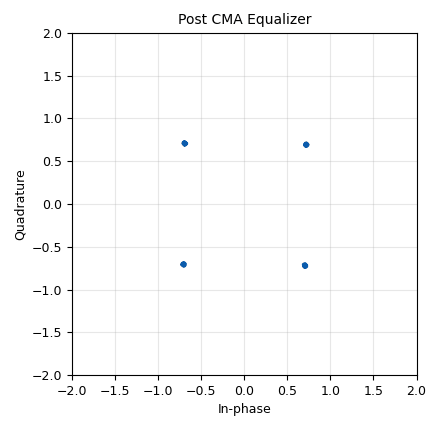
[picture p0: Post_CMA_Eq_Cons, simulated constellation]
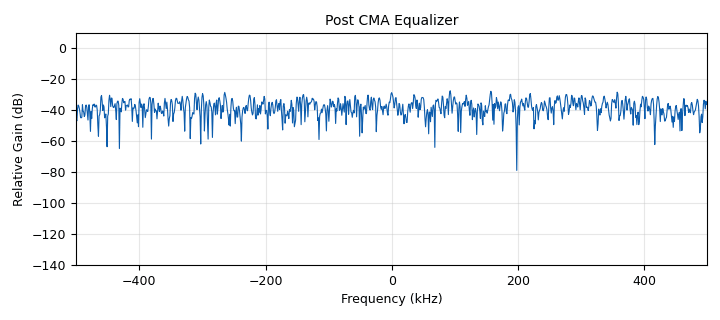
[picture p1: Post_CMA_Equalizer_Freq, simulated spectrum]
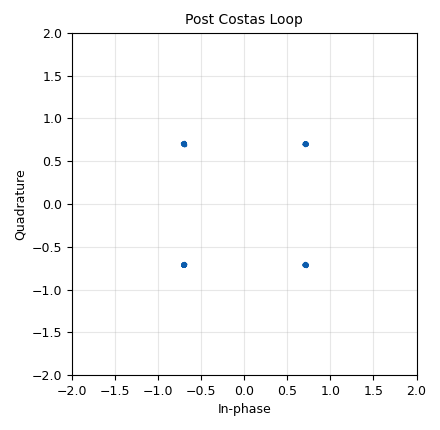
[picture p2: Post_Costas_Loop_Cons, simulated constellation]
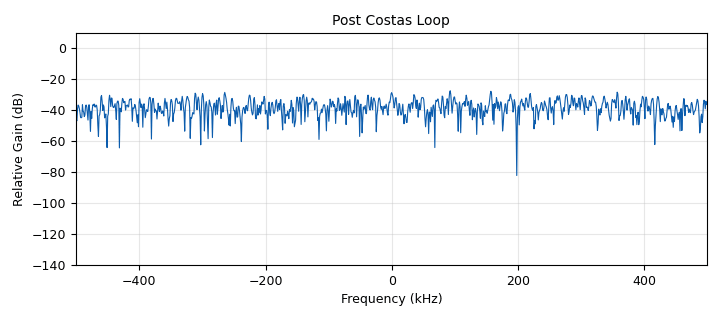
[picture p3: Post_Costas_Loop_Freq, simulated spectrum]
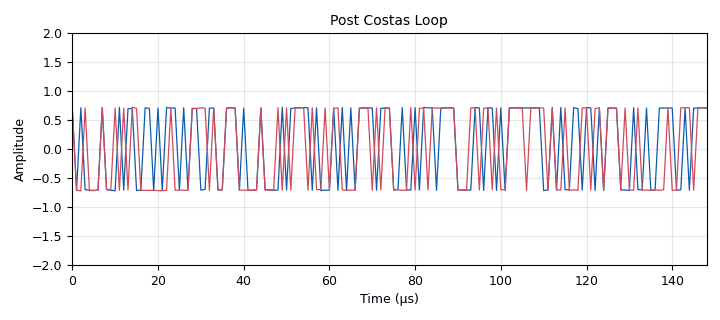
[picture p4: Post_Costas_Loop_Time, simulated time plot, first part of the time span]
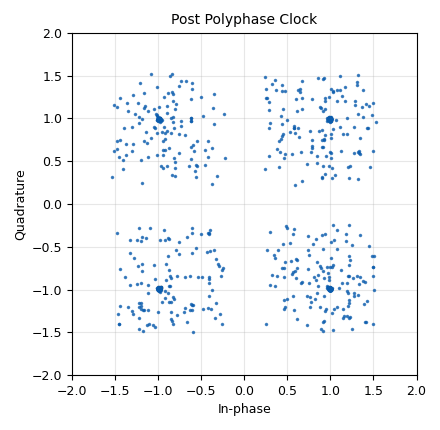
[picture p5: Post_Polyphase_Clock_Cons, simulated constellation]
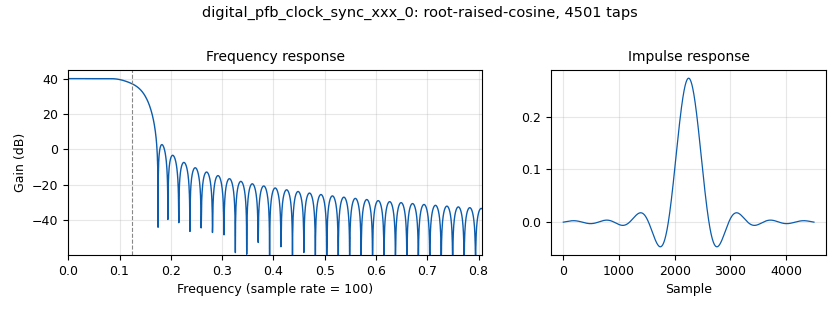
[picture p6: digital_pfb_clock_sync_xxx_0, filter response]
<?xml version='1.0' encoding='utf-8'?>
<?grc format='1' created='3.7.11'?>
<flow_graph>
<block>
<key>options</key>
<param><key>id</key><value>QPSK_ModDemod</value></param>
<param><key>author</key><value>Enrique Quik-e Cametti</value></param>
<param><key>generate_options</key><value>qt_gui</value></param>
<param><key>title</key><value>QPSK Modulation and Demodulation Simulation</value></param>
</block>
<block>
<key>variable</key>
<param><key>id</key><value>ConsRow</value></param>
<param><key>value</key><value>RangeRow+1</value></param>
</block>
<block>
<key>variable_qtgui_range</key>
<param><key>id</key><value>FreqOff</value></param>
<param><key>value</key><value>0</value></param>
<param><key>gui_hint</key><value>RangeRow,3</value></param>
<param><key>label</key><value>Frequency Offset</value></param>
<param><key>orient</key><value>Qt.Horizontal</value></param>
<param><key>start</key><value>0</value></param>
<param><key>step</key><value>0.01</value></param>
<param><key>stop</key><value>1</value></param>
</block>
<block>
<key>variable</key>
<param><key>id</key><value>FreqRow</value></param>
<param><key>value</key><value>ConsRow+1</value></param>
</block>
<block>
<key>variable_qtgui_range</key>
<param><key>id</key><value>Noise</value></param>
<param><key>value</key><value>0</value></param>
<param><key>gui_hint</key><value>RangeRow,1,1,2</value></param>
<param><key>label</key><value>Channel Noise</value></param>
<param><key>orient</key><value>Qt.Horizontal</value></param>
<param><key>start</key><value>0</value></param>
<param><key>step</key><value>0.01</value></param>
<param><key>stop</key><value>1</value></param>
</block>
<block>
<key>variable_constellation</key>
<param><key>id</key><value>QPSK_CO</value></param>
<param><key>type</key><value>qpsk</value></param>
<param><key>precision</key><value>8</value></param>
</block>
<block>
<key>variable</key>
<param><key>id</key><value>RangeRow</value></param>
<param><key>value</key><value>0</value></param>
</block>
<block>
<key>variable</key>
<param><key>id</key><value>SPS</value></param>
<param><key>value</key><value>2</value></param>
</block>
<block>
<key>variable</key>
<param><key>id</key><value>SampSymb</value></param>
<param><key>comment</key><value>Mio</value></param>
<param><key>value</key><value>4</value></param>
</block>
<block>
<key>variable</key>
<param><key>id</key><value>TimeRow</value></param>
<param><key>value</key><value>FreqRow+1</value></param>
</block>
<block>
<key>variable_qtgui_range</key>
<param><key>id</key><value>Values</value></param>
<param><key>value</key><value>1</value></param>
<param><key>gui_hint</key><value>RangeRow,0</value></param>
<param><key>label</key><value>Vector Values</value></param>
<param><key>orient</key><value>Qt.Horizontal</value></param>
<param><key>start</key><value>0</value></param>
<param><key>step</key><value>1</value></param>
<param><key>stop</key><value>15</value></param>
<param><key>rangeType</key><value>int</value></param>
</block>
<block>
<key>variable</key>
<param><key>id</key><value>nfilts</value></param>
<param><key>value</key><value>100</value></param>
</block>
<block>
<key>variable</key>
<param><key>id</key><value>rrc_taps_0</value></param>
<param><key>value</key><value>firdes.root_raised_cosine(nfilts, nfilts, 1.0/float(SampSymb), 0.35, 45*nfilts)</value></param>
</block>
<block>
<key>variable</key>
<param><key>id</key><value>samp_rate</value></param>
<param><key>value</key><value>1e6</value></param>
</block>
<block>
<key>qtgui_const_sink_x</key>
<param><key>id</key><value>Post_CMA_Eq_Cons</value></param>
<param><key>gui_hint</key><value>ConsRow,2</value></param>
<param><key>legend</key><value>False</value></param>
<param><key>alpha1</key><value>0.6</value></param>
<param><key>label1</key><value>Equalized</value></param>
<param><key>name</key><value>Post CMA Equalizer</value></param>
<param><key>size</key><value>1024</value></param>
<param><key>type</key><value>complex</value></param>
</block>
<block>
<key>qtgui_freq_sink_x</key>
<param><key>id</key><value>Post_CMA_Equalizer_Freq</value></param>
<param><key>bw</key><value>samp_rate</value></param>
<param><key>fc</key><value>0</value></param>
<param><key>fftsize</key><value>1024</value></param>
<param><key>gui_hint</key><value>FreqRow,2</value></param>
<param><key>legend</key><value>False</value></param>
<param><key>name</key><value>"Post CMA Equalizer"</value></param>
<param><key>showports</key><value>True</value></param>
<param><key>type</key><value>complex</value></param>
<param><key>wintype</key><value>firdes.WIN_BLACKMAN_hARRIS</value></param>
</block>
<block>
<key>qtgui_const_sink_x</key>
<param><key>id</key><value>Post_Costas_Loop_Cons</value></param>
<param><key>gui_hint</key><value>ConsRow,3</value></param>
<param><key>legend</key><value>False</value></param>
<param><key>alpha1</key><value>0.6</value></param>
<param><key>label1</key><value>Locked</value></param>
<param><key>name</key><value>Post Costas Loop</value></param>
<param><key>size</key><value>1024</value></param>
<param><key>type</key><value>complex</value></param>
</block>
<block>
<key>qtgui_freq_sink_x</key>
<param><key>id</key><value>Post_Costas_Loop_Freq</value></param>
<param><key>bw</key><value>samp_rate</value></param>
<param><key>fc</key><value>0</value></param>
<param><key>fftsize</key><value>1024</value></param>
<param><key>gui_hint</key><value>FreqRow,3</value></param>
<param><key>legend</key><value>False</value></param>
<param><key>name</key><value>"Post Costas Loop"</value></param>
<param><key>showports</key><value>True</value></param>
<param><key>type</key><value>complex</value></param>
<param><key>wintype</key><value>firdes.WIN_BLACKMAN_hARRIS</value></param>
</block>
<block>
<key>qtgui_time_sink_x</key>
<param><key>id</key><value>Post_Costas_Loop_Time</value></param>
<param><key>gui_hint</key><value>TimeRow,2,1,2</value></param>
<param><key>legend</key><value>False</value></param>
<param><key>color1</key><value>"blue"</value></param>
<param><key>label1</key><value></value></param>
<param><key>color2</key><value>"red"</value></param>
<param><key>label2</key><value></value></param>
<param><key>name</key><value>"Post Costas Loop"</value></param>
<param><key>size</key><value>1024</value></param>
<param><key>srate</key><value>samp_rate</value></param>
<param><key>type</key><value>complex</value></param>
<param><key>ymax</key><value>2</value></param>
<param><key>ymin</key><value>-2</value></param>
</block>
<block>
<key>qtgui_const_sink_x</key>
<param><key>id</key><value>Post_Polyphase_Clock_Cons</value></param>
<param><key>gui_hint</key><value>ConsRow,1</value></param>
<param><key>grid</key><value>True</value></param>
<param><key>legend</key><value>False</value></param>
<param><key>alpha1</key><value>0.5</value></param>
<param><key>label1</key><value>Timing Recov.</value></param>
<param><key>style1</key><value>1</value></param>
<param><key>name</key><value>Post Polyphase Clock</value></param>
<param><key>size</key><value>1024</value></param>
<param><key>type</key><value>complex</value></param>
</block>
<block>
<key>blocks_file_source</key>
<param><key>id</key><value>Text_Source</value></param>
<param><key>_enabled</key><value>0</value></param>
<param><key>file</key><value>/home/teddy/Documents/DVB_last_stand/Source_Files/Test_text.txt</value></param>
<param><key>type</key><value>byte</value></param>
<param><key>repeat</key><value>True</value></param>
</block>
<block>
<key>blocks_udp_source</key>
<param><key>id</key><value>UDP_Source_lo</value></param>
<param><key>_enabled</key><value>0</value></param>
<param><key>ipaddr</key><value>127.0.0.1</value></param>
<param><key>eof</key><value>False</value></param>
<param><key>type</key><value>byte</value></param>
<param><key>psize</key><value>188*7</value></param>
<param><key>port</key><value>1234</value></param>
<param><key>vlen</key><value>1</value></param>
</block>
<block>
<key>blocks_vector_source_x</key>
<param><key>id</key><value>Vector_Source</value></param>
<param><key>_enabled</key><value>0</value></param>
<param><key>type</key><value>byte</value></param>
<param><key>repeat</key><value>True</value></param>
<param><key>vector</key><value>(Values,Values,Values,Values,Values,Values,Values,Values, 0,1,2,3,4,5,6,7)</value></param>
</block>
<block>
<key>blocks_vector_source_x</key>
<param><key>id</key><value>Vector_Source_0</value></param>
<param><key>_enabled</key><value>0</value></param>
<param><key>type</key><value>byte</value></param>
<param><key>repeat</key><value>True</value></param>
<param><key>vector</key><value>(Values,Values)</value></param>
</block>
<block>
<key>blocks_file_sink</key>
<param><key>id</key><value>Video_Sink</value></param>
<param><key>_enabled</key><value>0</value></param>
<param><key>file</key><value>/home/teddy/Documents/DVB_last_stand/Received_Files/Test_Video_QPSK_received.ts</value></param>
<param><key>type</key><value>byte</value></param>
</block>
<block>
<key>blocks_file_source</key>
<param><key>id</key><value>Video_Source</value></param>
<param><key>_enabled</key><value>0</value></param>
<param><key>file</key><value>/home/teddy/Documents/DVB_last_stand/Source_Files/Test_Video.ts</value></param>
<param><key>type</key><value>byte</value></param>
<param><key>repeat</key><value>False</value></param>
</block>
<block>
<key>analog_random_source_x</key>
<param><key>id</key><value>analog_random_source_x_0</value></param>
<param><key>max</key><value>256</value></param>
<param><key>min</key><value>0</value></param>
<param><key>num_samps</key><value>1000</value></param>
<param><key>type</key><value>byte</value></param>
<param><key>repeat</key><value>True</value></param>
</block>
<block>
<key>blocks_delay</key>
<param><key>id</key><value>blocks_delay_0</value></param>
<param><key>delay</key><value>4</value></param>
<param><key>type</key><value>byte</value></param>
</block>
<block>
<key>blocks_file_sink</key>
<param><key>id</key><value>blocks_file_sink_1</value></param>
<param><key>_enabled</key><value>0</value></param>
<param><key>file</key><value>/home/teddy/Documents/DVB_last_stand/Received_Files/Test_Text_QPSK_received.txt</value></param>
<param><key>type</key><value>byte</value></param>
</block>
<block>
<key>blocks_repack_bits_bb</key>
<param><key>id</key><value>blocks_repack_bits_bb_0</value></param>
<param><key>k</key><value>1</value></param>
<param><key>l</key><value>8</value></param>
<param><key>endianness</key><value>gr.GR_MSB_FIRST</value></param>
</block>
<block>
<key>blocks_throttle</key>
<param><key>id</key><value>blocks_throttle_0</value></param>
<param><key>samples_per_second</key><value>samp_rate</value></param>
<param><key>type</key><value>byte</value></param>
</block>
<block>
<key>blocks_uchar_to_float</key>
<param><key>id</key><value>blocks_uchar_to_float_0</value></param>
</block>
<block>
<key>blocks_uchar_to_float</key>
<param><key>id</key><value>blocks_uchar_to_float_0_0</value></param>
</block>
<block>
<key>channels_channel_model</key>
<param><key>id</key><value>channels_channel_model_0</value></param>
<param><key>epsilon</key><value>1.0</value></param>
<param><key>freq_offset</key><value>FreqOff</value></param>
<param><key>noise_voltage</key><value>Noise</value></param>
<param><key>seed</key><value>0</value></param>
<param><key>taps</key><value>1.0 + 1.0j</value></param>
</block>
<block>
<key>digital_cma_equalizer_cc</key>
<param><key>id</key><value>digital_cma_equalizer_cc_0</value></param>
<param><key>mu</key><value>.01</value></param>
<param><key>modulus</key><value>1</value></param>
<param><key>num_taps</key><value>15</value></param>
<param><key>sps</key><value>2</value></param>
</block>
<block>
<key>digital_costas_loop_cc</key>
<param><key>id</key><value>digital_costas_loop_cc_0</value></param>
<param><key>w</key><value>.1</value></param>
<param><key>order</key><value>4</value></param>
</block>
<block>
<key>digital_pfb_clock_sync_xxx</key>
<param><key>id</key><value>digital_pfb_clock_sync_xxx_0</value></param>
<param><key>filter_size</key><value>nfilts</value></param>
<param><key>init_phase</key><value>nfilts/2</value></param>
<param><key>loop_bw</key><value>0.1</value></param>
<param><key>max_dev</key><value>1.5</value></param>
<param><key>osps</key><value>2</value></param>
<param><key>sps</key><value>SampSymb</value></param>
<param><key>taps</key><value>rrc_taps_0</value></param>
<param><key>type</key><value>ccf</value></param>
</block>
<block>
<key>digital_psk_demod</key>
<param><key>id</key><value>digital_psk_demod_0</value></param>
<param><key>differential</key><value>True</value></param>
<param><key>excess_bw</key><value>0.35</value></param>
<param><key>freq_bw</key><value>6.28/100.0</value></param>
<param><key>mod_code</key><value>"gray"</value></param>
<param><key>constellation_points</key><value>4</value></param>
<param><key>phase_bw</key><value>6.28/100.0</value></param>
<param><key>samples_per_symbol</key><value>SampSymb</value></param>
<param><key>timing_bw</key><value>6.28/100.0</value></param>
</block>
<block>
<key>digital_psk_mod</key>
<param><key>id</key><value>digital_psk_mod_0</value></param>
<param><key>differential</key><value>True</value></param>
<param><key>excess_bw</key><value>0.35</value></param>
<param><key>mod_code</key><value>"gray"</value></param>
<param><key>constellation_points</key><value>4</value></param>
<param><key>samples_per_symbol</key><value>SampSymb</value></param>
</block>
<block>
<key>qtgui_const_sink_x</key>
<param><key>id</key><value>qtgui_const_sink_x_0</value></param>
<param><key>gui_hint</key><value>ConsRow,0</value></param>
<param><key>legend</key><value>False</value></param>
<param><key>name</key><value>"Pre Polyphase Clock"</value></param>
<param><key>size</key><value>1024</value></param>
<param><key>type</key><value>complex</value></param>
<param><key>update_time</key><value>0.1</value></param>
</block>
<block>
<key>qtgui_freq_sink_x</key>
<param><key>id</key><value>qtgui_freq_sink_x_0</value></param>
<param><key>bw</key><value>samp_rate</value></param>
<param><key>fc</key><value>0</value></param>
<param><key>fftsize</key><value>1024</value></param>
<param><key>gui_hint</key><value>FreqRow,0</value></param>
<param><key>legend</key><value>False</value></param>
<param><key>showports</key><value>True</value></param>
<param><key>type</key><value>complex</value></param>
<param><key>wintype</key><value>firdes.WIN_BLACKMAN_hARRIS</value></param>
</block>
<block>
<key>qtgui_freq_sink_x</key>
<param><key>id</key><value>qtgui_freq_sink_x_0_0</value></param>
<param><key>bw</key><value>samp_rate</value></param>
<param><key>fc</key><value>0</value></param>
<param><key>fftsize</key><value>1024</value></param>
<param><key>gui_hint</key><value>FreqRow,1</value></param>
<param><key>legend</key><value>False</value></param>
<param><key>name</key><value>"Post Polyphase Clock"</value></param>
<param><key>showports</key><value>True</value></param>
<param><key>type</key><value>complex</value></param>
<param><key>wintype</key><value>firdes.WIN_BLACKMAN_hARRIS</value></param>
</block>
<block>
<key>qtgui_time_sink_x</key>
<param><key>id</key><value>qtgui_time_sink_x_0</value></param>
<param><key>gui_hint</key><value>TimeRow,0,1,2</value></param>
<param><key>legend</key><value>False</value></param>
<param><key>color1</key><value>"blue"</value></param>
<param><key>label1</key><value></value></param>
<param><key>color2</key><value>"red"</value></param>
<param><key>label2</key><value></value></param>
<param><key>name</key><value>"Pre Polyphase Clock"</value></param>
<param><key>size</key><value>1024</value></param>
<param><key>srate</key><value>samp_rate</value></param>
<param><key>type</key><value>complex</value></param>
<param><key>ymax</key><value>2</value></param>
<param><key>ymin</key><value>-2</value></param>
</block>
<block>
<key>qtgui_time_sink_x</key>
<param><key>id</key><value>qtgui_time_sink_x_0_0</value></param>
<param><key>autoscale</key><value>True</value></param>
<param><key>color1</key><value>"blue"</value></param>
<param><key>label1</key><value>Original</value></param>
<param><key>color2</key><value>"red"</value></param>
<param><key>label2</key><value>Received</value></param>
<param><key>name</key><value>"Original vs Received Data"</value></param>
<param><key>nconnections</key><value>2</value></param>
<param><key>size</key><value>1316</value></param>
<param><key>srate</key><value>samp_rate</value></param>
<param><key>type</key><value>float</value></param>
</block>
<connection><source_block_id>Text_Source</source_block_id><sink_block_id>blocks_throttle_0</sink_block_id><source_key>0</source_key><sink_key>0</sink_key></connection>
<connection><source_block_id>UDP_Source_lo</source_block_id><sink_block_id>blocks_throttle_0</sink_block_id><source_key>0</source_key><sink_key>0</sink_key></connection>
<connection><source_block_id>Vector_Source</source_block_id><sink_block_id>blocks_throttle_0</sink_block_id><source_key>0</source_key><sink_key>0</sink_key></connection>
<connection><source_block_id>Vector_Source_0</source_block_id><sink_block_id>blocks_throttle_0</sink_block_id><source_key>0</source_key><sink_key>0</sink_key></connection>
<connection><source_block_id>Video_Source</source_block_id><sink_block_id>blocks_throttle_0</sink_block_id><source_key>0</source_key><sink_key>0</sink_key></connection>
<connection><source_block_id>analog_random_source_x_0</source_block_id><sink_block_id>blocks_throttle_0</sink_block_id><source_key>0</source_key><sink_key>0</sink_key></connection>
<connection><source_block_id>blocks_delay_0</source_block_id><sink_block_id>blocks_repack_bits_bb_0</sink_block_id><source_key>0</source_key><sink_key>0</sink_key></connection>
<connection><source_block_id>blocks_repack_bits_bb_0</source_block_id><sink_block_id>Video_Sink</sink_block_id><source_key>0</source_key><sink_key>0</sink_key></connection>
<connection><source_block_id>blocks_repack_bits_bb_0</source_block_id><sink_block_id>blocks_file_sink_1</sink_block_id><source_key>0</source_key><sink_key>0</sink_key></connection>
<connection><source_block_id>blocks_repack_bits_bb_0</source_block_id><sink_block_id>blocks_uchar_to_float_0</sink_block_id><source_key>0</source_key><sink_key>0</sink_key></connection>
<connection><source_block_id>blocks_throttle_0</source_block_id><sink_block_id>blocks_uchar_to_float_0_0</sink_block_id><source_key>0</source_key><sink_key>0</sink_key></connection>
<connection><source_block_id>blocks_throttle_0</source_block_id><sink_block_id>digital_psk_mod_0</sink_block_id><source_key>0</source_key><sink_key>0</sink_key></connection>
<connection><source_block_id>blocks_uchar_to_float_0</source_block_id><sink_block_id>qtgui_time_sink_x_0_0</sink_block_id><source_key>0</source_key><sink_key>1</sink_key></connection>
<connection><source_block_id>blocks_uchar_to_float_0_0</source_block_id><sink_block_id>qtgui_time_sink_x_0_0</sink_block_id><source_key>0</source_key><sink_key>0</sink_key></connection>
<connection><source_block_id>channels_channel_model_0</source_block_id><sink_block_id>digital_pfb_clock_sync_xxx_0</sink_block_id><source_key>0</source_key><sink_key>0</sink_key></connection>
<connection><source_block_id>channels_channel_model_0</source_block_id><sink_block_id>digital_psk_demod_0</sink_block_id><source_key>0</source_key><sink_key>0</sink_key></connection>
<connection><source_block_id>channels_channel_model_0</source_block_id><sink_block_id>qtgui_const_sink_x_0</sink_block_id><source_key>0</source_key><sink_key>0</sink_key></connection>
<connection><source_block_id>channels_channel_model_0</source_block_id><sink_block_id>qtgui_freq_sink_x_0</sink_block_id><source_key>0</source_key><sink_key>0</sink_key></connection>
<connection><source_block_id>channels_channel_model_0</source_block_id><sink_block_id>qtgui_time_sink_x_0</sink_block_id><source_key>0</source_key><sink_key>0</sink_key></connection>
<connection><source_block_id>digital_cma_equalizer_cc_0</source_block_id><sink_block_id>Post_CMA_Eq_Cons</sink_block_id><source_key>0</source_key><sink_key>0</sink_key></connection>
<connection><source_block_id>digital_cma_equalizer_cc_0</source_block_id><sink_block_id>Post_CMA_Equalizer_Freq</sink_block_id><source_key>0</source_key><sink_key>0</sink_key></connection>
<connection><source_block_id>digital_cma_equalizer_cc_0</source_block_id><sink_block_id>digital_costas_loop_cc_0</sink_block_id><source_key>0</source_key><sink_key>0</sink_key></connection>
<connection><source_block_id>digital_costas_loop_cc_0</source_block_id><sink_block_id>Post_Costas_Loop_Cons</sink_block_id><source_key>0</source_key><sink_key>0</sink_key></connection>
<connection><source_block_id>digital_costas_loop_cc_0</source_block_id><sink_block_id>Post_Costas_Loop_Freq</sink_block_id><source_key>0</source_key><sink_key>0</sink_key></connection>
<connection><source_block_id>digital_costas_loop_cc_0</source_block_id><sink_block_id>Post_Costas_Loop_Time</sink_block_id><source_key>0</source_key><sink_key>0</sink_key></connection>
<connection><source_block_id>digital_pfb_clock_sync_xxx_0</source_block_id><sink_block_id>Post_Polyphase_Clock_Cons</sink_block_id><source_key>0</source_key><sink_key>0</sink_key></connection>
<connection><source_block_id>digital_pfb_clock_sync_xxx_0</source_block_id><sink_block_id>digital_cma_equalizer_cc_0</sink_block_id><source_key>0</source_key><sink_key>0</sink_key></connection>
<connection><source_block_id>digital_pfb_clock_sync_xxx_0</source_block_id><sink_block_id>qtgui_freq_sink_x_0_0</sink_block_id><source_key>0</source_key><sink_key>0</sink_key></connection>
<connection><source_block_id>digital_psk_demod_0</source_block_id><sink_block_id>blocks_delay_0</sink_block_id><source_key>0</source_key><sink_key>0</sink_key></connection>
<connection><source_block_id>digital_psk_mod_0</source_block_id><sink_block_id>channels_channel_model_0</sink_block_id><source_key>0</source_key><sink_key>0</sink_key></connection>
</flow_graph>
